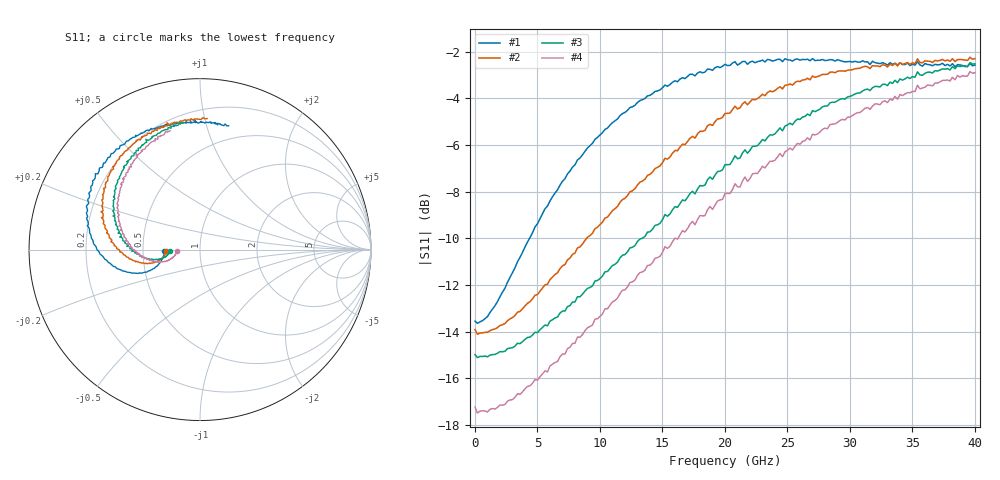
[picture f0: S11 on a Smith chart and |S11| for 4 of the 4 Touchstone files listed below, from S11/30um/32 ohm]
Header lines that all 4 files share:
!Agilent Technologies,N5227A,US51270434,A.10.00.00
!Agilent N5227A: A.10.00.00
!Correction: S11(Full 1 Port(1))
!S1P File: Measurement: S11:
# Hz S  dB  R 50
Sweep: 10 MHz to 40 GHz
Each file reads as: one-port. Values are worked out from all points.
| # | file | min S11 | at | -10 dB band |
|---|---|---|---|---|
| 1 | 0V.s1p | -13.6 dB | 209.9 MHz | over 4.368 GHz wide |
| 2 | -3V.s1p | -14.1 dB | 209.9 MHz | over 8.931 GHz wide |
| 3 | -5V.s1p | -15.1 dB | 209.9 MHz | over 13.38 GHz wide |
| 4 | -7V.s1p | -17.5 dB | 209.9 MHz | over 15.98 GHz wide |
